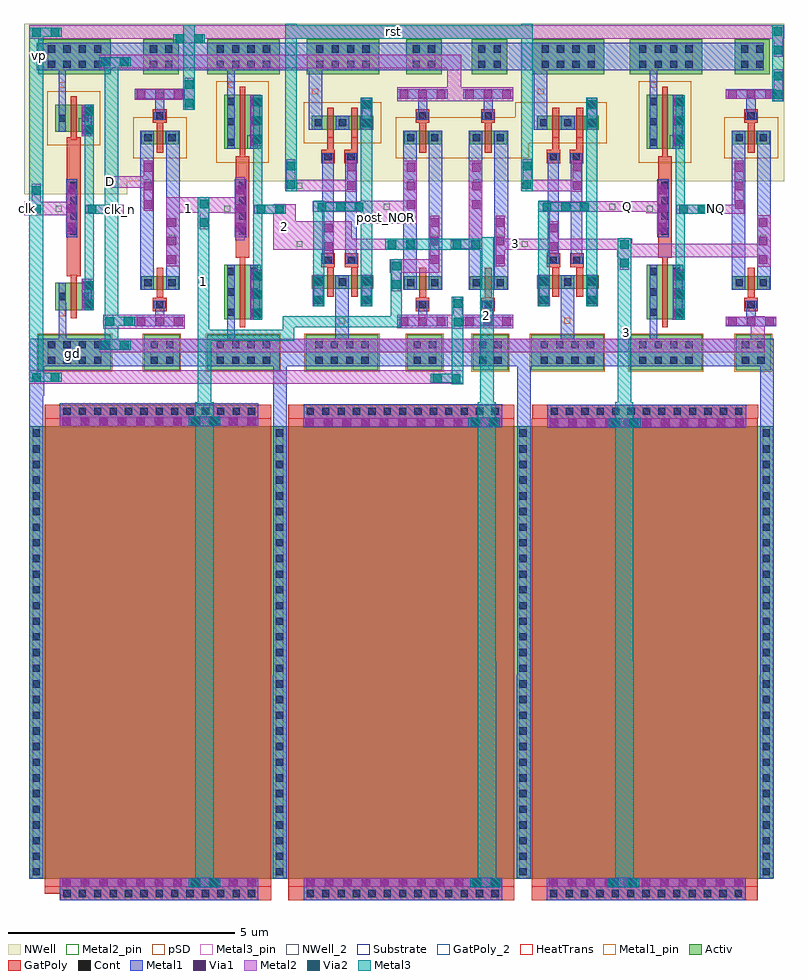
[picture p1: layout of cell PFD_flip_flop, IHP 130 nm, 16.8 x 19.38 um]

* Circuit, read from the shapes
.subckt PFD_flip_flop 1 2 3 D NQ Q clk clk_n gd post_NOR rst vp
XM1 gd 1 gd gd sg13_lv_nmos w=10u l=5u
XM2 clk_n clk gd gd sg13_lv_nmos w=0.6u l=0.13u
XM3 1 clk_n D gd sg13_lv_nmos w=0.3u l=0.15u
XM4 2 1 gd gd sg13_lv_nmos w=1.2u l=0.13u
XM5 gd 2 gd gd sg13_lv_nmos w=10u l=5u
XM6 gd 2 post_NOR gd sg13_lv_nmos w=0.3u l=0.15u
XM7 post_NOR rst gd gd sg13_lv_nmos w=0.3u l=0.15u
XM8 1 clk post_NOR gd sg13_lv_nmos w=0.3u l=0.15u
XM9 3 clk 2 gd sg13_lv_nmos w=0.3u l=0.15u
XM10 gd 3 gd gd sg13_lv_nmos w=10u l=5u
XM11 gd 3 Q gd sg13_lv_nmos w=0.3u l=0.15u
XM12 Q rst gd gd sg13_lv_nmos w=0.3u l=0.15u
XM13 NQ Q gd gd sg13_lv_nmos w=1.2u l=0.13u
XM14 3 clk_n NQ gd sg13_lv_nmos w=0.3u l=0.15u
XM15 clk_n clk vp vp sg13_lv_pmos w=0.6u l=0.13u
XM16 1 clk D vp sg13_lv_pmos w=0.3u l=0.15u
XM17 2 1 vp vp sg13_lv_pmos w=1.2u l=0.13u
XM18 n1 2 vp vp sg13_lv_pmos w=0.3u l=0.15u
XM19 post_NOR rst n1 vp sg13_lv_pmos w=0.3u l=0.15u
XM20 1 clk_n post_NOR vp sg13_lv_pmos w=0.3u l=0.15u
XM21 3 clk_n 2 vp sg13_lv_pmos w=0.3u l=0.15u
XM22 n2 3 vp vp sg13_lv_pmos w=0.3u l=0.15u
XM23 Q rst n2 vp sg13_lv_pmos w=0.3u l=0.15u
XM24 NQ Q vp vp sg13_lv_pmos w=1.2u l=0.13u
XM25 3 clk NQ vp sg13_lv_pmos w=0.3u l=0.15u
.ends

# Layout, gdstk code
from math import pi, radians
import gdstk
lib = gdstk.Library(unit=1e-6, precision=1e-09)
def R(c, l, rs):  # rectangles x0, y0, x1, y1
    for r in rs: c.add(gdstk.rectangle(r[:2], r[2:], *l))
def A(c, l, x, y, w, h, nx, ny, dx, dy):  # array of equal rectangles
    R(c, l, [(x+i*dx, y+j*dy, x+i*dx+w, y+j*dy+h) for i in range(nx) for j in range(ny)])
def P(c, l, *ps):  # polygons
    for p in ps: c.add(gdstk.Polygon(p, *l))
Activ = (1, 0)
GatPoly = (5, 0)
GatPoly_2 = (5, 2)
Cont = (6, 0)
Metal1 = (8, 0)
Metal1_pin = (8, 2)
Metal2 = (10, 0)
Metal2_pin = (10, 2)
pSD = (14, 0)
Via1 = (19, 0)
Via2 = (29, 0)
Metal3 = (30, 0)
Metal3_pin = (30, 2)
NWell = (31, 0)
NWell_2 = (31, 2)
Substrate = (40, 0)
HeatTrans = (51, 0)

via_3_3 = lib.new_cell('Via$3$3')
R(via_3_3, Metal2, [(-0.1,-0.555,0.1,0.555)])
A(via_3_3, Via2, -0.095, -0.505, 0.19, 0.19, 1, 3, 0, 0.41)
R(via_3_3, Metal3, [(-0.1,-0.555,0.1,0.555)])

via_2_1_1 = lib.new_cell('Via$2$1$1')
R(via_2_1_1, Metal1, [(-0.105,-0.555,0.105,0.555)])
R(via_2_1_1, Metal2, [(-0.1,-0.555,0.1,0.555)])
A(via_2_1_1, Via1, -0.095, -0.505, 0.19, 0.19, 1, 3, 0, 0.41)

via_3_1_1 = lib.new_cell('Via$3$1$1')
R(via_3_1_1, Metal2, [(-0.35,-0.1,0.35,0.1)])
R(via_3_1_1, Via2, [(-0.3,-0.095,-0.11,0.095), (0.11,-0.095,0.3,0.095)])
R(via_3_1_1, Metal3, [(-0.35,-0.1,0.35,0.1)])

ntap1_1_1 = lib.new_cell('ntap1$1$1')
R(ntap1_1_1, Activ, [(0,0,1.6,0.78)])
A(ntap1_1_1, Cont, 0.21, 0.14, 0.16, 0.16, 4, 2, 0.34, 0.34)
R(ntap1_1_1, Metal1, [(0.21,0.09,1.39,0.69)])
R(ntap1_1_1, Metal1_pin, [(0.21,0.09,1.39,0.69), (0.21,0.14,1.39,0.64)])
R(ntap1_1_1, NWell, [(-0.24,-0.24,1.84,1.02), (0,0,1.6,0.78)])
R(ntap1_1_1, NWell_2, [(0,0,1.6,0.78)])
ntap1_1_1.add(gdstk.Label('well', (0.8,0.01), layer=63, texttype=0))
ntap1_1_1.add(gdstk.Label('well', (0.8,0.01), layer=31, texttype=0))

ptap1_1_1 = lib.new_cell('ptap1$1$1')
R(ptap1_1_1, Activ, [(0,0,1.6,0.78)])
A(ptap1_1_1, Cont, 0.21, 0.14, 0.16, 0.16, 4, 2, 0.34, 0.34)
R(ptap1_1_1, Metal1, [(0.21,0.09,1.39,0.69), (0.21,0.14,1.39,0.64)])
R(ptap1_1_1, Metal1_pin, [(0.21,0.14,1.39,0.64)])
R(ptap1_1_1, pSD, [(-0.03,-0.03,1.63,0.81)])
R(ptap1_1_1, Substrate, [(0,0,1.6,0.78)])
ptap1_1_1.add(gdstk.Label('sub!', (0.8,0.01), layer=63, texttype=0))
ptap1_1_1.add(gdstk.Label('sub!', (0.8,0.01), layer=40, texttype=0))

nmos_1_1 = lib.new_cell('nmos$1$1')
R(nmos_1_1, Activ, [(0,0,0.3,0.3), (0,0,0.81,1.2), (0.51,0,0.81,0.3)])
R(nmos_1_1, GatPoly, [(0.34,-0.18,0.47,1.38)])
R(nmos_1_1, GatPoly_2, [(0.34,-0.18,0.47,1.38)])
A(nmos_1_1, Cont, 0.07, 0.07, 0.16, 0.16, 1, 3, 0, 0.45)
A(nmos_1_1, Cont, 0.58, 0.07, 0.16, 0.16, 1, 3, 0, 0.45)
R(nmos_1_1, Metal1, [(0.07,0,0.23,1.2), (0.58,0,0.74,1.2)])
R(nmos_1_1, Metal1_pin, [(0.07,0,0.23,1.2), (0.58,0,0.74,1.2)])
R(nmos_1_1, HeatTrans, [(0.34,-0.18,0.47,1.38)])
nmos_1_1.add(gdstk.Label('nmos', (0.405,0.6), layer=63, texttype=0))
nmos_1_1.add(gdstk.Label('nmos', (0.405,0.6), layer=51, texttype=0))

pmos_1_1 = lib.new_cell('pmos$1$1')
R(pmos_1_1, Activ, [(0,0,0.3,0.3), (0,0,0.81,1.2), (0.51,0,0.81,0.3)])
R(pmos_1_1, GatPoly, [(0.34,-0.18,0.47,1.38), (0.34,-0.18,0.47,1.38)])
A(pmos_1_1, Cont, 0.07, 0.07, 0.16, 0.16, 1, 3, 0, 0.45)
A(pmos_1_1, Cont, 0.58, 0.07, 0.16, 0.16, 1, 3, 0, 0.45)
R(pmos_1_1, Metal1, [(0.07,0,0.23,1.2), (0.07,0,0.23,1.2), (0.58,0,0.74,1.2), (0.58,0,0.74,1.2)])
R(pmos_1_1, pSD, [(-0.18,-0.3,0.99,1.5)])
R(pmos_1_1, NWell, [(-0.31,-0.31,1.12,1.51)])
R(pmos_1_1, Substrate, [(0.51,0,0.81,0.3)])
R(pmos_1_1, HeatTrans, [(0.34,-0.18,0.47,1.38)])
pmos_1_1.add(gdstk.Label('pmos', (0.405,0.6), layer=63, texttype=0))
pmos_1_1.add(gdstk.Label('pmos', (0.405,0.6), layer=51, texttype=0))

via_4_2 = lib.new_cell('Via$4$2')
R(via_4_2, GatPoly, [(-0.15,-0.66,0.15,0.66)])
A(via_4_2, Cont, -0.08, -0.59, 0.16, 0.16, 1, 4, 0, 0.34)
R(via_4_2, Metal1, [(-0.08,-0.64,0.08,0.64)])

pfd_inverter_x8 = lib.new_cell('PFD_inverter_x8')
R(pfd_inverter_x8, GatPoly, [(-0.265,-2.855,-0.135,-2.655), (-0.35,-2.25,-0.05,-1.81), (-0.35,-0.49,-0.05,0)])
R(pfd_inverter_x8, Metal1, [(-0.535,-4.45,-0.37,-3.805), (-0.535,-3.805,-0.37,-3.24), (-0.37,-1.79,-0.35,-0.51), (-0.35,-1.79,-0.28,-0.51), (-0.535,0.96,-0.375,1.26), (-0.535,1.245,-0.375,2.235)])
R(pfd_inverter_x8, Metal1_pin, [(-0.52,-3.54,-0.39,-3.41), (-0.52,1.51,-0.39,1.64)])
R(pfd_inverter_x8, Metal2, [(0.53,-1.27,0.9,-1.07), (-0.62,-1.26,-0.28,-1.06)])
R(pfd_inverter_x8, Metal2_pin, [(0.555,-1.235,0.685,-1.105), (-0.6,-1.225,-0.47,-1.095)])
R(pfd_inverter_x8, Metal3, [(0.04,-3.09,0.24,-2.63), (0.04,-2.7,0.24,-0.24), (0.04,-0.34,0.24,0.76)])
R(pfd_inverter_x8, NWell, [(-1.3,-0.55,0.98,0.655), (-1.3,0.655,0.755,2.925), (0.755,0.655,0.98,2.925)])
pfd_inverter_x8.add(gdstk.Reference(via_3_3, (0.14,-3.06)))
pfd_inverter_x8.add(gdstk.Reference(via_2_1_1, (0.08,-3.06)))
pfd_inverter_x8.add(gdstk.Reference(via_2_1_1, (-0.26,-1.16)))
pfd_inverter_x8.add(gdstk.Reference(via_3_1_1, (0.41,-1.17)))
pfd_inverter_x8.add(gdstk.Reference(via_3_3, (0.14,0.79)))
pfd_inverter_x8.add(gdstk.Reference(via_2_1_1, (0.08,0.79)))
pfd_inverter_x8.add(gdstk.Reference(ntap1_1_1, (-0.98,1.81)))
pfd_inverter_x8.add(gdstk.Reference(ptap1_1_1, (-0.98,-4.73)))
pfd_inverter_x8.add(gdstk.Reference(nmos_1_1, (-0.605,-3.6)))
pfd_inverter_x8.add(gdstk.Reference(pmos_1_1, (-0.605,0.16)))
pfd_inverter_x8.add(gdstk.Reference(via_4_2, (-0.2,-1.15)))
pfd_inverter_x8.add(gdstk.Label('OUT', (0.62,-1.17), layer=10, texttype=25))
pfd_inverter_x8.add(gdstk.Label('IN', (-0.54,-1.16), layer=10, texttype=25))
pfd_inverter_x8.add(gdstk.Label('GND', (-0.455,-3.47), layer=8, texttype=25))
pfd_inverter_x8.add(gdstk.Label('VP', (-0.455,1.57), layer=8, texttype=25))

via_12_1 = lib.new_cell('Via$12$1')
R(via_12_1, Metal2, [(-0.1,-0.35,0.1,0.35)])
R(via_12_1, Via2, [(-0.095,-0.3,0.095,-0.11), (-0.095,0.11,0.095,0.3)])
R(via_12_1, Metal3, [(-0.1,-0.35,0.1,0.35)])

pmos_2 = lib.new_cell('pmos$2')
R(pmos_2, Activ, [(0,0,0.3,0.3), (0,0,0.83,0.3), (0.53,0,0.83,0.3)])
R(pmos_2, GatPoly, [(0.34,-0.18,0.49,0.48), (0.34,-0.18,0.49,0.48)])
R(pmos_2, Cont, [(0.07,0.07,0.23,0.23), (0.6,0.07,0.76,0.23)])
R(pmos_2, Metal1, [(0.07,0,0.23,0.3), (0.07,0,0.23,0.3), (0.6,0,0.76,0.3), (0.6,0,0.76,0.3)])
R(pmos_2, pSD, [(-0.18,-0.3,1.01,0.6)])
R(pmos_2, NWell, [(-0.31,-0.31,1.14,0.61)])
R(pmos_2, Substrate, [(0.53,0,0.83,0.3)])
R(pmos_2, HeatTrans, [(0.34,-0.18,0.49,0.48)])
pmos_2.add(gdstk.Label('pmos', (0.415,0.15), layer=63, texttype=0))
pmos_2.add(gdstk.Label('pmos', (0.415,0.15), layer=51, texttype=0))

nmos_2 = lib.new_cell('nmos$2')
R(nmos_2, Activ, [(0,0,0.3,0.3), (0,0,0.83,0.3), (0.53,0,0.83,0.3)])
R(nmos_2, GatPoly, [(0.34,-0.18,0.49,0.48)])
R(nmos_2, GatPoly_2, [(0.34,-0.18,0.49,0.48)])
R(nmos_2, Cont, [(0.07,0.07,0.23,0.23), (0.6,0.07,0.76,0.23)])
R(nmos_2, Metal1, [(0.07,0,0.23,0.3), (0.6,0,0.76,0.3)])
R(nmos_2, Metal1_pin, [(0.07,0,0.23,0.3), (0.6,0,0.76,0.3)])
R(nmos_2, HeatTrans, [(0.34,-0.18,0.49,0.48)])
nmos_2.add(gdstk.Label('nmos', (0.415,0.15), layer=63, texttype=0))
nmos_2.add(gdstk.Label('nmos', (0.415,0.15), layer=51, texttype=0))

ptap1_2 = lib.new_cell('ptap1$2')
R(ptap1_2, Activ, [(0,0,0.78,0.78)])
R(ptap1_2, Cont, [(0.14,0.14,0.3,0.3), (0.48,0.14,0.64,0.3), (0.14,0.48,0.3,0.64), (0.48,0.48,0.64,0.64)])
R(ptap1_2, Metal1, [(0.14,0.09,0.64,0.69), (0.14,0.14,0.64,0.64)])
R(ptap1_2, Metal1_pin, [(0.14,0.14,0.64,0.64)])
R(ptap1_2, pSD, [(-0.03,-0.03,0.81,0.81)])
R(ptap1_2, Substrate, [(0,0,0.78,0.78)])
ptap1_2.add(gdstk.Label('sub!', (0.39,0.01), layer=63, texttype=0))
ptap1_2.add(gdstk.Label('sub!', (0.39,0.01), layer=40, texttype=0))

ntap1_2 = lib.new_cell('ntap1$2')
R(ntap1_2, Activ, [(0,0,0.78,0.78)])
R(ntap1_2, Cont, [(0.14,0.14,0.3,0.3), (0.48,0.14,0.64,0.3), (0.14,0.48,0.3,0.64), (0.48,0.48,0.64,0.64)])
R(ntap1_2, Metal1, [(0.14,0.09,0.64,0.69)])
R(ntap1_2, Metal1_pin, [(0.14,0.09,0.64,0.69), (0.14,0.14,0.64,0.64)])
R(ntap1_2, NWell, [(-0.24,-0.24,1.02,1.02), (0,0,0.78,0.78)])
R(ntap1_2, NWell_2, [(0,0,0.78,0.78)])
ntap1_2.add(gdstk.Label('well', (0.39,0.01), layer=63, texttype=0))
ntap1_2.add(gdstk.Label('well', (0.39,0.01), layer=31, texttype=0))

via_10 = lib.new_cell('Via$10')
R(via_10, Metal1, [(-0.555,-0.105,0.555,0.105)])
R(via_10, Metal2, [(-0.555,-0.1,0.555,0.1)])
A(via_10, Via1, -0.505, -0.095, 0.19, 0.19, 3, 1, 0.41, 0)

via_5_2 = lib.new_cell('Via$5$2')
R(via_5_2, GatPoly, [(-0.15,-0.15,0.15,0.15)])
R(via_5_2, Cont, [(-0.08,-0.08,0.08,0.08)])
R(via_5_2, Metal1, [(-0.13,-0.08,0.13,0.08)])

via_3 = lib.new_cell('Via$3')
R(via_3, Metal1, [(-0.105,-0.555,0.105,0.555)])
R(via_3, Metal2, [(-0.1,-0.555,0.1,0.555)])
A(via_3, Via1, -0.095, -0.505, 0.19, 0.19, 1, 3, 0, 0.41)

pfd_passgate = lib.new_cell('PFD_passgate')
R(pfd_passgate, Metal1_pin, [(-3.245,-4.395,-3.115,-4.265), (-3.245,2.135,-3.115,2.265)])
R(pfd_passgate, Metal2_pin, [(-3.295,-3.705,-3.165,-3.575), (-3.015,-1.865,-2.885,-1.735), (-3.545,-0.645,-3.415,-0.515), (-3.285,1.295,-3.155,1.425)])
R(pfd_passgate, NWell, [(-3.94,-0.55,-2.49,2.83), (-3.94,2.83,-2.49,2.93)])
pfd_passgate.add(gdstk.FlexPath([(-2.93,0.56),(-2.93,-2.95)], 0.3, ends="flush", simple_path=True, layer=8, datatype=0))  # Metal1
pfd_passgate.add(gdstk.FlexPath([(-3.5,0.56),(-3.5,-2.95)], 0.3, ends="flush", simple_path=True, layer=8, datatype=0))  # Metal1
pfd_passgate.add(gdstk.FlexPath([(-3.22,0.81),(-3.22,1.33)], 0.2, ends="flush", simple_path=True, layer=8, datatype=0))  # Metal1
pfd_passgate.add(gdstk.FlexPath([(-3.22,-3.72),(-3.22,-3.2)], 0.2, ends="flush", simple_path=True, layer=8, datatype=0))  # Metal1
pfd_passgate.add(gdstk.Reference(pmos_2, (-3.63,0.26)))
pfd_passgate.add(gdstk.Reference(nmos_2, (-3.63,-2.95)))
pfd_passgate.add(gdstk.Reference(ptap1_2, (-3.56,-4.73)))
pfd_passgate.add(gdstk.Reference(ntap1_2, (-3.58,1.81)))
pfd_passgate.add(gdstk.Reference(via_10, (-3.22,1.37)))
pfd_passgate.add(gdstk.Reference(via_5_2, (-3.22,0.89)))
pfd_passgate.add(gdstk.Reference(via_5_2, (-3.22,-3.28)))
pfd_passgate.add(gdstk.Reference(via_10, (-3.22,-3.65)))
pfd_passgate.add(gdstk.Reference(via_3, (-3.475,-0.655)))
pfd_passgate.add(gdstk.Reference(via_3, (-2.955,-1.875)))
pfd_passgate.add(gdstk.Label('A', (-3.48,-0.58), layer=10, texttype=25))
pfd_passgate.add(gdstk.Label('B', (-2.95,-1.8), layer=10, texttype=25))
pfd_passgate.add(gdstk.Label('in_p', (-3.22,1.36), layer=10, texttype=25))
pfd_passgate.add(gdstk.Label('in_n', (-3.23,-3.64), layer=10, texttype=25))
pfd_passgate.add(gdstk.Label('gnd', (-3.18,-4.33), layer=8, texttype=25))
pfd_passgate.add(gdstk.Label('vp', (-3.18,2.2), layer=8, texttype=25))

pmos_3_1 = lib.new_cell('pmos$3$1')
R(pmos_3_1, Activ, [(0,0,0.3,0.3), (0,0,0.83,0.3), (0.53,0,0.83,0.3)])
R(pmos_3_1, GatPoly, [(0.34,-0.18,0.49,0.48), (0.34,-0.18,0.49,0.48)])
R(pmos_3_1, Cont, [(0.07,0.07,0.23,0.23), (0.6,0.07,0.76,0.23)])
R(pmos_3_1, Metal1, [(0.07,0,0.23,0.3), (0.07,0,0.23,0.3), (0.6,0,0.76,0.3), (0.6,0,0.76,0.3)])
R(pmos_3_1, pSD, [(-0.18,-0.3,1.01,0.6)])
R(pmos_3_1, NWell, [(-0.31,-0.31,1.14,0.61)])
R(pmos_3_1, Substrate, [(0.53,0,0.83,0.3)])
R(pmos_3_1, HeatTrans, [(0.34,-0.18,0.49,0.48)])
pmos_3_1.add(gdstk.Label('pmos', (0.415,0.15), layer=63, texttype=0))
pmos_3_1.add(gdstk.Label('pmos', (0.415,0.15), layer=51, texttype=0))

ntap1_3_1 = lib.new_cell('ntap1$3$1')
R(ntap1_3_1, Activ, [(0,0,1.6,0.78)])
A(ntap1_3_1, Cont, 0.21, 0.14, 0.16, 0.16, 4, 2, 0.34, 0.34)
R(ntap1_3_1, Metal1, [(0.21,0.09,1.39,0.69)])
R(ntap1_3_1, Metal1_pin, [(0.21,0.09,1.39,0.69), (0.21,0.14,1.39,0.64)])
R(ntap1_3_1, NWell, [(-0.24,-0.24,1.84,1.02), (0,0,1.6,0.78)])
R(ntap1_3_1, NWell_2, [(0,0,1.6,0.78)])
ntap1_3_1.add(gdstk.Label('well', (0.8,0.01), layer=63, texttype=0))
ntap1_3_1.add(gdstk.Label('well', (0.8,0.01), layer=31, texttype=0))

via_5_3_1 = lib.new_cell('Via$5$3$1')
R(via_5_3_1, GatPoly, [(-0.15,-0.15,0.15,0.15)])
R(via_5_3_1, Cont, [(-0.08,-0.08,0.08,0.08)])
R(via_5_3_1, Metal1, [(-0.13,-0.08,0.13,0.08)])

via_6_1_1 = lib.new_cell('Via$6$1$1')
R(via_6_1_1, Metal1, [(-0.105,-0.35,0.105,0.35)])
R(via_6_1_1, Metal2, [(-0.1,-0.35,0.1,0.35)])
R(via_6_1_1, Via1, [(-0.095,-0.3,0.095,-0.11), (-0.095,0.11,0.095,0.3)])

ptap1_3_1 = lib.new_cell('ptap1$3$1')
R(ptap1_3_1, Activ, [(0,0,1.6,0.78)])
A(ptap1_3_1, Cont, 0.21, 0.14, 0.16, 0.16, 4, 2, 0.34, 0.34)
R(ptap1_3_1, Metal1, [(0.21,0.09,1.39,0.69), (0.21,0.14,1.39,0.64)])
R(ptap1_3_1, Metal1_pin, [(0.21,0.14,1.39,0.64)])
R(ptap1_3_1, pSD, [(-0.03,-0.03,1.63,0.81)])
R(ptap1_3_1, Substrate, [(0,0,1.6,0.78)])
ptap1_3_1.add(gdstk.Label('sub!', (0.8,0.01), layer=63, texttype=0))
ptap1_3_1.add(gdstk.Label('sub!', (0.8,0.01), layer=40, texttype=0))

nmos_3_1 = lib.new_cell('nmos$3$1')
R(nmos_3_1, Activ, [(0,0,0.3,0.3), (0,0,0.83,0.3), (0.53,0,0.83,0.3)])
R(nmos_3_1, GatPoly, [(0.34,-0.18,0.49,0.48)])
R(nmos_3_1, GatPoly_2, [(0.34,-0.18,0.49,0.48)])
R(nmos_3_1, Cont, [(0.07,0.07,0.23,0.23), (0.6,0.07,0.76,0.23)])
R(nmos_3_1, Metal1, [(0.07,0,0.23,0.3), (0.6,0,0.76,0.3)])
R(nmos_3_1, Metal1_pin, [(0.07,0,0.23,0.3), (0.6,0,0.76,0.3)])
R(nmos_3_1, HeatTrans, [(0.34,-0.18,0.49,0.48)])
nmos_3_1.add(gdstk.Label('nmos', (0.415,0.15), layer=63, texttype=0))
nmos_3_1.add(gdstk.Label('nmos', (0.415,0.15), layer=51, texttype=0))

via_8_1 = lib.new_cell('Via$8$1')
R(via_8_1, Metal2, [(-0.1,-0.35,0.1,0.35)])
R(via_8_1, Via2, [(-0.095,-0.3,0.095,-0.11), (-0.095,0.11,0.095,0.3)])
R(via_8_1, Metal3, [(-0.1,-0.35,0.1,0.35)])

via_7_1_1 = lib.new_cell('Via$7$1$1')
R(via_7_1_1, Metal2, [(-0.555,-0.1,0.555,0.1)])
A(via_7_1_1, Via2, -0.505, -0.095, 0.19, 0.19, 3, 1, 0.41, 0)
R(via_7_1_1, Metal3, [(-0.555,-0.1,0.555,0.1)])

pfd_nor = lib.new_cell('PFD_NOR')
R(pfd_nor, GatPoly, [(0.53,0.13,0.68,0.41), (0,0.14,0.15,0.41)])
R(pfd_nor, Metal1, [(-0.34,-4.64,1.02,-4.04), (0.19,0.59,0.49,0.89)])
R(pfd_nor, Metal1_pin, [(0.265,-3.705,0.395,-3.575), (-0.325,1.365,-0.195,1.495)])
R(pfd_nor, Metal2, [(-0.315,-1.23,1.39,-1)])
R(pfd_nor, Metal2_pin, [(-0.675,-2.005,-0.545,-1.875), (1.255,-1.185,1.385,-1.055), (-0.675,-0.715,-0.545,-0.585)])
R(pfd_nor, NWell, [(-0.69,-0.55,1.39,2.93)])
pfd_nor.add(gdstk.FlexPath([(-0.195,-2.62),(-0.195,-3.32)], 0.25, ends="flush", simple_path=True, layer=10, datatype=0))  # Metal2
pfd_nor.add(gdstk.FlexPath([(0.875,-2.62),(0.875,-3.32)], 0.25, ends="flush", simple_path=True, layer=10, datatype=0))  # Metal2
pfd_nor.add(gdstk.FlexPath([(0.87,1.29),(0.87,0.59)], 0.25, ends="flush", simple_path=True, layer=10, datatype=0))  # Metal2
pfd_nor.add(gdstk.FlexPath([(0.64,-0.65),(-0.69,-0.65)], 0.25, ends="flush", simple_path=True, layer=10, datatype=0))  # Metal2
pfd_nor.add(gdstk.FlexPath([(0.125,-1.945),(-0.69,-1.945)], 0.25, ends="flush", simple_path=True, layer=10, datatype=0))  # Metal2
pfd_nor.add(gdstk.FlexPath([(-0.185,-3.32),(-0.185,-0.99)], 0.25, ends="flush", simple_path=True, layer=30, datatype=0))  # Metal3
pfd_nor.add(gdstk.FlexPath([(0.87,-3.32),(0.87,1.29)], 0.25, ends="flush", simple_path=True, layer=30, datatype=0))  # Metal3
pfd_nor.add(gdstk.FlexPath([(-0.26,0.59),(-0.26,2.5)], 0.3, ends="flush", simple_path=True, layer=8, datatype=0))  # Metal1
pfd_nor.add(gdstk.FlexPath([(0.02,0.07),(0.02,-2.38)], 0.25, ends="flush", simple_path=True, layer=8, datatype=0))  # Metal1
pfd_nor.add(gdstk.FlexPath([(0.53,0.07),(0.53,-2.38)], 0.25, ends="flush", simple_path=True, layer=8, datatype=0))  # Metal1
pfd_nor.add(gdstk.FlexPath([(0.33,-2.63),(0.33,-4.04)], 0.3, ends="flush", simple_path=True, layer=8, datatype=0))  # Metal1
pfd_nor.add(gdstk.Reference(pmos_3_1, (-0.34,0.59)))
pfd_nor.add(gdstk.Reference(pmos_3_1, (0.19,0.59)))
pfd_nor.add(gdstk.Reference(ntap1_3_1, (-0.45,1.81)))
pfd_nor.add(gdstk.Reference(via_5_3_1, (0.02,-0.01)))
pfd_nor.add(gdstk.Reference(via_5_3_1, (0.53,-0.01)))
pfd_nor.add(gdstk.Reference(via_5_3_1, (0.02,-2.3)))
pfd_nor.add(gdstk.Reference(via_5_3_1, (0.54,-2.3)))
pfd_nor.add(gdstk.Reference(via_6_1_1, (0.025,-1.79)))
pfd_nor.add(gdstk.Reference(via_6_1_1, (0.545,-0.44)))
pfd_nor.add(gdstk.Reference(ptap1_3_1, (-0.47,-4.73)))
pfd_nor.add(gdstk.Reference(nmos_3_1, (-0.34,-2.93)))
pfd_nor.add(gdstk.Reference(nmos_3_1, (0.19,-2.93)))
pfd_nor.add(gdstk.Reference(via_8_1, (0.87,0.94)))
pfd_nor.add(gdstk.Reference(via_6_1_1, (0.875,0.94)))
pfd_nor.add(gdstk.Reference(via_8_1, (0.87,-2.97)))
pfd_nor.add(gdstk.Reference(via_6_1_1, (0.875,-2.97)))
pfd_nor.add(gdstk.Reference(via_8_1, (-0.19,-2.97)))
pfd_nor.add(gdstk.Reference(via_6_1_1, (-0.185,-2.97)))
pfd_nor.add(gdstk.Reference(via_7_1_1, (0.295,-1.12)))
pfd_nor.add(gdstk.Label('Out', (1.32,-1.12), layer=10, texttype=25))
pfd_nor.add(gdstk.Label('A', (-0.61,-0.65), layer=10, texttype=25))
pfd_nor.add(gdstk.Label('B', (-0.61,-1.94), layer=10, texttype=25))
pfd_nor.add(gdstk.Label('gd', (0.33,-3.64), layer=8, texttype=25))
pfd_nor.add(gdstk.Label('vp', (-0.26,1.43), layer=8, texttype=25))

via_23 = lib.new_cell('Via$23')
R(via_23, Metal2, [(-0.35,-0.1,0.35,0.1)])
R(via_23, Via2, [(-0.3,-0.095,-0.11,0.095), (0.11,-0.095,0.3,0.095)])
R(via_23, Metal3, [(-0.35,-0.1,0.35,0.1)])

via_2_1 = lib.new_cell('Via$2$1')
R(via_2_1, Metal2, [(-0.1,-0.35,0.1,0.35)])
R(via_2_1, Via2, [(-0.095,-0.3,0.095,-0.11), (-0.095,0.11,0.095,0.3)])
R(via_2_1, Metal3, [(-0.1,-0.35,0.1,0.35)])

via_8 = lib.new_cell('Via$8')
R(via_8, Metal1, [(-0.105,-0.35,0.105,0.35)])
R(via_8, Metal2, [(-0.1,-0.35,0.1,0.35)])
R(via_8, Via1, [(-0.095,-0.3,0.095,-0.11), (-0.095,0.11,0.095,0.3)])

via_6 = lib.new_cell('Via$6')
R(via_6, Metal1, [(-0.105,-0.555,0.105,0.555)])
R(via_6, Metal2, [(-0.1,-0.555,0.1,0.555)])
A(via_6, Via1, -0.095, -0.505, 0.19, 0.19, 1, 3, 0, 0.41)

via_7 = lib.new_cell('Via$7')
R(via_7, Metal2, [(-0.35,-0.1,0.35,0.1)])
R(via_7, Via2, [(-0.3,-0.095,-0.11,0.095), (0.11,-0.095,0.3,0.095)])
R(via_7, Metal3, [(-0.35,-0.1,0.35,0.1)])

ntap1_3 = lib.new_cell('ntap1$3')
R(ntap1_3, Activ, [(0,0,1.6,0.78)])
A(ntap1_3, Cont, 0.21, 0.14, 0.16, 0.16, 4, 2, 0.34, 0.34)
R(ntap1_3, Metal1, [(0.21,0.09,1.39,0.69)])
R(ntap1_3, Metal1_pin, [(0.21,0.09,1.39,0.69), (0.21,0.14,1.39,0.64)])
R(ntap1_3, NWell, [(-0.24,-0.24,1.84,1.02), (0,0,1.6,0.78)])
R(ntap1_3, NWell_2, [(0,0,1.6,0.78)])
ntap1_3.add(gdstk.Label('well', (0.8,0.01), layer=63, texttype=0))
ntap1_3.add(gdstk.Label('well', (0.8,0.01), layer=31, texttype=0))

ptap1_5 = lib.new_cell('ptap1$5')
R(ptap1_5, Activ, [(0,0,1.6,0.78)])
A(ptap1_5, Cont, 0.21, 0.14, 0.16, 0.16, 4, 2, 0.34, 0.34)
R(ptap1_5, Metal1, [(0.21,0.09,1.39,0.69), (0.21,0.14,1.39,0.64)])
R(ptap1_5, Metal1_pin, [(0.21,0.14,1.39,0.64)])
R(ptap1_5, pSD, [(-0.03,-0.03,1.63,0.81)])
R(ptap1_5, Substrate, [(0,0,1.6,0.78)])
ptap1_5.add(gdstk.Label('sub!', (0.8,0.01), layer=63, texttype=0))
ptap1_5.add(gdstk.Label('sub!', (0.8,0.01), layer=40, texttype=0))

nmos_4 = lib.new_cell('nmos$4')
R(nmos_4, Activ, [(0,0,0.3,0.3), (0,0,0.81,0.6), (0.51,0,0.81,0.3)])
R(nmos_4, GatPoly, [(0.34,-0.18,0.47,0.78)])
R(nmos_4, GatPoly_2, [(0.34,-0.18,0.47,0.78)])
R(nmos_4, Cont, [(0.07,0.22,0.23,0.38), (0.58,0.22,0.74,0.38)])
R(nmos_4, Metal1, [(0.07,0,0.23,0.6), (0.58,0,0.74,0.6)])
R(nmos_4, Metal1_pin, [(0.07,0,0.23,0.6), (0.58,0,0.74,0.6)])
R(nmos_4, HeatTrans, [(0.34,-0.18,0.47,0.78)])
nmos_4.add(gdstk.Label('nmos', (0.405,0.3), layer=63, texttype=0))
nmos_4.add(gdstk.Label('nmos', (0.405,0.3), layer=51, texttype=0))

pmos_4 = lib.new_cell('pmos$4')
R(pmos_4, Activ, [(0,0,0.3,0.3), (0,0,0.81,0.6), (0.51,0,0.81,0.3)])
R(pmos_4, GatPoly, [(0.34,-0.18,0.47,0.78), (0.34,-0.18,0.47,0.78)])
R(pmos_4, Cont, [(0.07,0.22,0.23,0.38), (0.58,0.22,0.74,0.38)])
R(pmos_4, Metal1, [(0.07,0,0.23,0.6), (0.07,0,0.23,0.6), (0.58,0,0.74,0.6), (0.58,0,0.74,0.6)])
R(pmos_4, pSD, [(-0.18,-0.3,0.99,0.9)])
R(pmos_4, NWell, [(-0.31,-0.31,1.12,0.91)])
R(pmos_4, Substrate, [(0.51,0,0.81,0.3)])
R(pmos_4, HeatTrans, [(0.34,-0.18,0.47,0.78)])
pmos_4.add(gdstk.Label('pmos', (0.405,0.3), layer=63, texttype=0))
pmos_4.add(gdstk.Label('pmos', (0.405,0.3), layer=51, texttype=0))

via_5 = lib.new_cell('Via$5')
R(via_5, GatPoly, [(-0.15,-0.66,0.15,0.66)])
A(via_5, Cont, -0.08, -0.59, 0.16, 0.16, 1, 4, 0, 0.34)
R(via_5, Metal1, [(-0.08,-0.64,0.08,0.64)])

pfd_inverter_x4 = lib.new_cell('PFD_inverter_x4')
R(pfd_inverter_x4, GatPoly, [(-0.265,-2.855,-0.135,-2.655), (-0.35,-2.65,-0.05,-1.81), (-0.35,-0.49,-0.05,0.42)])
R(pfd_inverter_x4, Metal1, [(-0.535,-4.45,-0.37,-3.805), (-0.535,-3.805,-0.37,-3.24), (-0.37,-1.79,-0.35,-0.51), (-0.35,-1.79,-0.28,-0.51), (-0.535,0.96,-0.375,1.26), (-0.535,1.245,-0.375,2.235)])
R(pfd_inverter_x4, Metal1_pin, [(-0.52,-3.54,-0.39,-3.41), (-0.52,1.51,-0.39,1.64)])
R(pfd_inverter_x4, Metal2, [(-0.02,-3.41,0.24,-2.71), (0.53,-1.27,0.9,-1.07), (-0.62,-1.26,-0.28,-1.06), (-0.02,0.44,0.24,1.14)])
R(pfd_inverter_x4, Metal2_pin, [(0.555,-1.235,0.685,-1.105), (-0.6,-1.225,-0.47,-1.095)])
R(pfd_inverter_x4, Metal3, [(0.04,-3.09,0.24,-2.63), (0.04,-2.7,0.24,-0.24), (0.04,-0.34,0.24,0.76)])
R(pfd_inverter_x4, NWell, [(-1.3,-0.84,0.98,0.14), (-1.3,0.14,0.98,0.655), (-1.3,0.655,0.755,2.925), (0.755,0.655,0.98,2.925)])
pfd_inverter_x4.add(gdstk.Reference(via_2_1, (0.14,-3.06)))
pfd_inverter_x4.add(gdstk.Reference(via_8, (0.08,-3.06)))
pfd_inverter_x4.add(gdstk.Reference(via_6, (-0.26,-1.16)))
pfd_inverter_x4.add(gdstk.Reference(via_7, (0.41,-1.17)))
pfd_inverter_x4.add(gdstk.Reference(via_2_1, (0.14,0.79)))
pfd_inverter_x4.add(gdstk.Reference(via_8, (0.08,0.79)))
pfd_inverter_x4.add(gdstk.Reference(ntap1_3, (-0.98,1.81)))
pfd_inverter_x4.add(gdstk.Reference(ptap1_5, (-0.98,-4.73)))
pfd_inverter_x4.add(gdstk.Reference(nmos_4, (-0.605,-3.4)))
pfd_inverter_x4.add(gdstk.Reference(pmos_4, (-0.605,0.54)))
pfd_inverter_x4.add(gdstk.Reference(via_5, (-0.2,-1.15)))
pfd_inverter_x4.add(gdstk.Label('OUT', (0.62,-1.17), layer=10, texttype=25))
pfd_inverter_x4.add(gdstk.Label('IN', (-0.54,-1.16), layer=10, texttype=25))
pfd_inverter_x4.add(gdstk.Label('GND', (-0.455,-3.47), layer=8, texttype=25))
pfd_inverter_x4.add(gdstk.Label('VP', (-0.455,1.57), layer=8, texttype=25))

via_15_1 = lib.new_cell('Via$15$1')
R(via_15_1, GatPoly, [(-2.19,-0.15,2.19,0.15)])
A(via_15_1, Cont, -2.12, -0.08, 0.16, 0.16, 13, 1, 0.34, 0)
R(via_15_1, Metal1, [(-2.17,-0.08,2.17,0.08)])

via_14 = lib.new_cell('Via$14')
R(via_14, Metal1, [(-2.195,-0.105,2.195,0.105)])
R(via_14, Metal2, [(-2.195,-0.1,2.195,0.1)])
A(via_14, Via1, -2.145, -0.095, 0.19, 0.19, 11, 1, 0.41, 0)

nmos_6 = lib.new_cell('nmos$6')
R(nmos_6, Activ, [(0,0,0.3,0.3), (0,0,5.68,10), (5.38,0,5.68,0.3)])
R(nmos_6, GatPoly, [(0.34,-0.18,5.34,10.18)])
R(nmos_6, GatPoly_2, [(0.34,-0.18,5.34,10.18)])
A(nmos_6, Cont, 0.07, 0.07, 0.16, 0.16, 1, 4, 0, 0.345)
A(nmos_6, Cont, 5.45, 0.07, 0.16, 0.16, 1, 4, 0, 0.345)
A(nmos_6, Cont, 0.07, 1.455, 0.16, 0.16, 1, 3, 0, 0.345)
A(nmos_6, Cont, 5.45, 1.455, 0.16, 0.16, 1, 3, 0, 0.345)
A(nmos_6, Cont, 0.07, 2.495, 0.16, 0.16, 1, 4, 0, 0.345)
A(nmos_6, Cont, 5.45, 2.495, 0.16, 0.16, 1, 4, 0, 0.345)
A(nmos_6, Cont, 0.07, 3.88, 0.16, 0.16, 1, 3, 0, 0.345)
A(nmos_6, Cont, 5.45, 3.88, 0.16, 0.16, 1, 3, 0, 0.345)
A(nmos_6, Cont, 0.07, 4.92, 0.16, 0.16, 1, 4, 0, 0.345)
A(nmos_6, Cont, 5.45, 4.92, 0.16, 0.16, 1, 4, 0, 0.345)
A(nmos_6, Cont, 0.07, 6.305, 0.16, 0.16, 1, 3, 0, 0.345)
A(nmos_6, Cont, 5.45, 6.305, 0.16, 0.16, 1, 3, 0, 0.345)
A(nmos_6, Cont, 0.07, 7.345, 0.16, 0.16, 1, 4, 0, 0.345)
A(nmos_6, Cont, 5.45, 7.345, 0.16, 0.16, 1, 4, 0, 0.345)
A(nmos_6, Cont, 0.07, 8.73, 0.16, 0.16, 1, 3, 0, 0.345)
A(nmos_6, Cont, 5.45, 8.73, 0.16, 0.16, 1, 3, 0, 0.345)
R(nmos_6, Cont, [(0.07,9.77,0.23,9.93), (5.45,9.77,5.61,9.93)])
R(nmos_6, Metal1, [(0.07,0,0.23,10), (5.45,0,5.61,10)])
R(nmos_6, Metal1_pin, [(0.07,0,0.23,10), (5.45,0,5.61,10)])
R(nmos_6, HeatTrans, [(0.34,-0.18,5.34,10.18)])
nmos_6.add(gdstk.Label('nmos', (2.84,5), layer=63, texttype=0))
nmos_6.add(gdstk.Label('nmos', (2.84,5), layer=51, texttype=0))

nmos_8 = lib.new_cell('nmos$8')
R(nmos_8, Activ, [(0,0,0.3,0.3), (0,0,5.68,10), (5.38,0,5.68,0.3)])
R(nmos_8, GatPoly, [(0.34,-0.18,5.34,10.18)])
R(nmos_8, GatPoly_2, [(0.34,-0.18,5.34,10.18)])
A(nmos_8, Cont, 0.07, 0.07, 0.16, 0.16, 1, 4, 0, 0.345)
A(nmos_8, Cont, 5.45, 0.07, 0.16, 0.16, 1, 4, 0, 0.345)
A(nmos_8, Cont, 0.07, 1.455, 0.16, 0.16, 1, 3, 0, 0.345)
A(nmos_8, Cont, 5.45, 1.455, 0.16, 0.16, 1, 3, 0, 0.345)
A(nmos_8, Cont, 0.07, 2.495, 0.16, 0.16, 1, 4, 0, 0.345)
A(nmos_8, Cont, 5.45, 2.495, 0.16, 0.16, 1, 4, 0, 0.345)
A(nmos_8, Cont, 0.07, 3.88, 0.16, 0.16, 1, 3, 0, 0.345)
A(nmos_8, Cont, 5.45, 3.88, 0.16, 0.16, 1, 3, 0, 0.345)
A(nmos_8, Cont, 0.07, 4.92, 0.16, 0.16, 1, 4, 0, 0.345)
A(nmos_8, Cont, 5.45, 4.92, 0.16, 0.16, 1, 4, 0, 0.345)
A(nmos_8, Cont, 0.07, 6.305, 0.16, 0.16, 1, 3, 0, 0.345)
A(nmos_8, Cont, 5.45, 6.305, 0.16, 0.16, 1, 3, 0, 0.345)
A(nmos_8, Cont, 0.07, 7.345, 0.16, 0.16, 1, 4, 0, 0.345)
A(nmos_8, Cont, 5.45, 7.345, 0.16, 0.16, 1, 4, 0, 0.345)
A(nmos_8, Cont, 0.07, 8.73, 0.16, 0.16, 1, 3, 0, 0.345)
A(nmos_8, Cont, 5.45, 8.73, 0.16, 0.16, 1, 3, 0, 0.345)
R(nmos_8, Cont, [(0.07,9.77,0.23,9.93), (5.45,9.77,5.61,9.93)])
R(nmos_8, Metal1, [(0.07,0,0.23,10), (5.45,0,5.61,10)])
R(nmos_8, Metal1_pin, [(0.07,0,0.23,10), (5.45,0,5.61,10)])
R(nmos_8, HeatTrans, [(0.34,-0.18,5.34,10.18)])
nmos_8.add(gdstk.Label('nmos', (2.84,5), layer=63, texttype=0))
nmos_8.add(gdstk.Label('nmos', (2.84,5), layer=51, texttype=0))

pfd_flip_flop = lib.new_cell('PFD_flip_flop')
A(pfd_flip_flop, GatPoly, -2.59, -16.45, 0.28, 0.3, 3, 1, 5.38, 0)
R(pfd_flip_flop, GatPoly, [(-1.93,-16.45,-1.59,-16.15), (3.45,-16.45,3.79,-16.15), (-7.31,-16.3,-6.97,-16), (-7.31,-5.79,-6.97,-5.49), (-2.59,-5.79,-2.31,-5.49), (-1.93,-5.79,-1.59,-5.49), (2.79,-5.79,3.07,-5.49), (3.46,-5.79,3.8,-5.49), (8.18,-5.79,8.46,-5.49)])
R(pfd_flip_flop, Metal1, [(-6.98,-16.45,-2.59,-15.945), (-1.59,-16.45,2.8,-15.945), (3.79,-16.45,8.18,-15.945), (-7.65,-15.96,-7.35,-11.47), (-2.27,-15.96,-1.96,-11.47), (3.12,-15.96,3.43,-11.47), (8.49,-15.96,8.8,-11.47), (3.8,-6,8.19,-5.495), (-1.59,-5.99,2.8,-5.485), (-6.98,-5.97,-2.59,-5.465), (-7.32,-4.64,-7.24,-4.03), (-7.24,-4.64,8.6,-4.03), (8.6,-4.64,8.8,-4.04), (-7.005,-4.59,-6.84,-3.4), (-7.49,1.9,-7.24,2.5), (-7.24,1.9,8.58,2.51)])
R(pfd_flip_flop, Metal1_pin, [(-6.755,-4.425,-6.625,-4.295), (-7.49,2.16,-7.36,2.29)])
R(pfd_flip_flop, Metal2, [(8.44,-2.44,8.74,-1.3), (5.34,-2.23,5.68,-1.82), (0.61,-2.07,0.8,-1.82), (2.655,-2.07,3.22,-1.82), (2.06,-2.05,2.36,-0.1), (-3.105,-1.86,-2.895,-1.715), (-1.76,-1.82,-0.945,-1.44), (-0.945,-1.82,-0.53,-1.44), (-3.105,-1.715,-2.895,-0.605), (-3.11,-1.56,-3.1,-1.26), (-0.32,-1.49,0.345,-0.99), (-6.835,-1.31,-6.83,-1.26), (-4.63,-1.255,-2.905,-0.91), (5.3,-1.23,6.23,-1), (6.23,-1.08,6.24,-1), (-6.835,-1.06,-6.83,-1.01), (-3.105,-1.06,-3.1,-0.91), (6.23,-1.05,6.24,-1), (0.61,-0.99,0.91,-0.1), (-1.98,-0.775,-1.76,-0.525), (3.24,-0.775,3.46,-0.525), (-3.105,-0.605,-2.895,-0.46)])
P(pfd_flip_flop, Metal2, [(-3.105,-0.91),(-3.105,-0.91),(-3.105,-0.91),(-3.105,-0.91)])
R(pfd_flip_flop, Metal2_pin, [(-7.765,-1.225,-7.635,-1.095), (7.455,-1.225,7.585,-1.095), (5.515,-1.185,5.645,-1.055), (-5.915,-0.635,-5.785,-0.505)])
R(pfd_flip_flop, pSD, [(1.64,-0.04,1.9,0.86), (3.09,-0.04,3.39,1.19)])
R(pfd_flip_flop, Metal3, [(-3.98,-16.05,-3.575,-11.16), (2.26,-16.05,2.665,-11.16), (5.3,-16.05,5.705,-11.16), (5.35,-5.485,5.65,-5.09), (2.31,-5.45,2.61,-5.09), (-3.93,-5.44,-3.63,-5.09), (-5.99,-4.28,-5.69,-3.76), (1.69,-3.36,1.94,-3.11), (2.31,-2.095,2.36,-2.07), (0.22,-2.07,2.36,-1.82), (-5.99,-1.08,-5.69,-1.07), (-4.245,1.03,-3.995,1.22), (-5.99,1.9,-5.69,2.19)])
R(pfd_flip_flop, Metal3_pin, [(0.335,2.685,0.465,2.815)])
pfd_flip_flop.add(gdstk.FlexPath([(7.5,-1.17),(8.15,-1.17)], 0.2, ends="flush", simple_path=True, layer=10, datatype=0))  # Metal2
pfd_flip_flop.add(gdstk.FlexPath([(0.34,-1.24),(0.91,-1.24)], 0.5, ends="flush", simple_path=True, layer=10, datatype=0))  # Metal2
pfd_flip_flop.add(gdstk.FlexPath([(-7.65,-4.88),(-5.07,-4.88)], 0.3, ends="flush", simple_path=True, layer=10, datatype=0))  # Metal2
pfd_flip_flop.add(gdstk.FlexPath([(-7.65,2.75),(-5.07,2.75)], 0.3, ends="flush", simple_path=True, layer=10, datatype=0))  # Metal2
pfd_flip_flop.add(gdstk.FlexPath([(-5.07,-4.88),(1.94,-4.88)], 0.3, ends="flush", simple_path=True, layer=10, datatype=0))  # Metal2
pfd_flip_flop.add(gdstk.FlexPath([(-6.11,2.09),(1.89,2.09)], 0.3, ends="flush", simple_path=True, layer=10, datatype=0))  # Metal2
pfd_flip_flop.add(gdstk.FlexPath([(1.74,1.22),(1.74,1.94)], 0.3, ends="flush", simple_path=True, layer=10, datatype=0))  # Metal2
pfd_flip_flop.add(gdstk.FlexPath([(-6.11,-4.18),(8.6,-4.18)], 0.3, ends="flush", simple_path=True, layer=10, datatype=0))  # Metal2
pfd_flip_flop.add(gdstk.FlexPath([(8.45,-4.33),(8.45,-3.54)], 0.3, ends="flush", simple_path=True, layer=10, datatype=0))  # Metal2
pfd_flip_flop.add(gdstk.FlexPath([(-0.945,-1.945),(0.61,-1.945)], 0.25, ends="flush", simple_path=True, layer=10, datatype=0))  # Metal2
pfd_flip_flop.add(gdstk.FlexPath([(-5.07,2.75),(9.03,2.75)], 0.3, ends="flush", simple_path=True, layer=10, datatype=0))  # Metal2
pfd_flip_flop.add(gdstk.FlexPath([(8.66,-2.08),(5.48,-2.08)], 0.3, ends="flush", simple_path=True, layer=10, datatype=0))  # Metal2
pfd_flip_flop.add(gdstk.FlexPath([(3.43,-1.945),(5.48,-1.945)], 0.25, ends="flush", simple_path=True, layer=10, datatype=0))  # Metal2
pfd_flip_flop.add(gdstk.FlexPath([(-5.325,1.37),(-3.995,1.37)], 0.25, ends="flush", simple_path=True, layer=10, datatype=0))  # Metal2
pfd_flip_flop.add(gdstk.FlexPath([(-5.49,-3.66),(-4.215,-3.66)], 0.3, ends="flush", simple_path=True, layer=10, datatype=0))  # Metal2
pfd_flip_flop.add(gdstk.FlexPath([(0.485,-3.65),(3.045,-3.65)], 0.3, ends="flush", simple_path=True, layer=10, datatype=0))  # Metal2
pfd_flip_flop.add(gdstk.FlexPath([(1.41,-2.43),(0.32,-2.43),(0.32,-2.43)], 0.3, ends="flush", simple_path=True, layer=10, datatype=0))  # Metal2
pfd_flip_flop.add(gdstk.FlexPath([(-5.48,-3.66),(-6.02,-3.66)], 0.3, ends="flush", simple_path=True, layer=10, datatype=0))  # Metal2
pfd_flip_flop.add(gdstk.FlexPath([(0.485,1.37),(3.045,1.37)], 0.3, ends="flush", simple_path=True, layer=10, datatype=0))  # Metal2
pfd_flip_flop.add(gdstk.FlexPath([(-6.835,-1.16),(-7.77,-1.16)], 0.3, ends="flush", simple_path=True, layer=10, datatype=0))  # Metal2
pfd_flip_flop.add(gdstk.FlexPath([(-4.48,-0.91),(-4.48,-2.43)], 0.3, ends="flush", simple_path=True, layer=10, datatype=0))  # Metal2
pfd_flip_flop.add(gdstk.FlexPath([(-4.93,-0.57),(-5.99,-0.57)], 0.25, ends="flush", simple_path=True, layer=10, datatype=0))  # Metal2
pfd_flip_flop.add(gdstk.FlexPath([(-2.01,-1.06),(-2.01,-2.07)], 0.5, ends="flush", simple_path=True, layer=10, datatype=0))  # Metal2
pfd_flip_flop.add(gdstk.FlexPath([(0.32,-1.12),(-0.325,-1.12)], 0.25, ends="flush", simple_path=True, layer=10, datatype=0))  # Metal2
pfd_flip_flop.add(gdstk.FlexPath([(-3.78,-5.44),(-3.78,-11.16)], 0.4, ends="flush", simple_path=True, layer=30, datatype=0))  # Metal3
pfd_flip_flop.add(gdstk.FlexPath([(2.46,-5.44),(2.46,-11.16)], 0.4, ends="flush", simple_path=True, layer=30, datatype=0))  # Metal3
pfd_flip_flop.add(gdstk.FlexPath([(5.5,-5.44),(5.5,-11.16)], 0.4, ends="flush", simple_path=True, layer=30, datatype=0))  # Metal3
pfd_flip_flop.add(gdstk.FlexPath([(2.36,-1.945),(2.46,-1.945),(2.46,-5.09)], 0.3, ends="flush", simple_path=True, layer=30, datatype=0))  # Metal3
pfd_flip_flop.add(gdstk.FlexPath([(-3.78,-4.085),(-3.78,-5.09)], 0.3, ends="flush", simple_path=True, layer=30, datatype=0))  # Metal3
pfd_flip_flop.add(gdstk.FlexPath([(5.5,-1.81),(5.5,-5.09)], 0.3, ends="flush", simple_path=True, layer=30, datatype=0))  # Metal3
pfd_flip_flop.add(gdstk.FlexPath([(-1.87,-0.775),(-1.87,2.925)], 0.25, ends="flush", simple_path=True, layer=30, datatype=0))  # Metal3
pfd_flip_flop.add(gdstk.FlexPath([(-7.5,1.75),(-7.5,2.84)], 0.3, ends="flush", simple_path=True, layer=30, datatype=0))  # Metal3
pfd_flip_flop.add(gdstk.FlexPath([(8.9,1.22),(8.9,2.9)], 0.25, ends="flush", simple_path=True, layer=30, datatype=0))  # Metal3
pfd_flip_flop.add(gdstk.FlexPath([(-7.5,-1.31),(-7.5,-4.99)], 0.3, ends="flush", simple_path=True, layer=30, datatype=0))  # Metal3
pfd_flip_flop.add(gdstk.FlexPath([(-4.12,1.22),(-4.12,2.9)], 0.25, ends="flush", simple_path=True, layer=30, datatype=0))  # Metal3
pfd_flip_flop.add(gdstk.FlexPath([(1.815,-5.04),(1.815,-3.36)], 0.25, ends="flush", simple_path=True, layer=30, datatype=0))  # Metal3
pfd_flip_flop.add(gdstk.FlexPath([(-5.84,-1.07),(-5.84,1.9)], 0.3, ends="flush", simple_path=True, layer=30, datatype=0))  # Metal3
pfd_flip_flop.add(gdstk.FlexPath([(3.35,-0.775),(3.35,2.925)], 0.25, ends="flush", simple_path=True, layer=30, datatype=0))  # Metal3
pfd_flip_flop.add(gdstk.FlexPath([(-1.76,2.75),(3.475,2.75)], 0.3, ends="flush", simple_path=True, layer=30, datatype=0))  # Metal3
pfd_flip_flop.add(gdstk.FlexPath([(0.46,-2.28),(0.46,-3.66),(-2.04,-3.66)], 0.25, ends="flush", simple_path=True, layer=30, datatype=0))  # Metal3
pfd_flip_flop.add(gdstk.FlexPath([(-1.92,-3.535),(-1.92,-3.96),(-3.8,-3.96),(-3.8,-2.22)], 0.25, ends="flush", simple_path=True, layer=30, datatype=0))  # Metal3
pfd_flip_flop.add(gdstk.FlexPath([(-3.8,-2.22),(-3.8,-0.91)], 0.25, ends="flush", simple_path=True, layer=30, datatype=0))  # Metal3
pfd_flip_flop.add(gdstk.FlexPath([(-5.84,-1.08),(-5.84,-3.76)], 0.3, ends="flush", simple_path=True, layer=30, datatype=0))  # Metal3
pfd_flip_flop.add(gdstk.FlexPath([(-7.5,-1.31),(-7.5,1.75)], 0.3, ends="flush", simple_path=True, layer=30, datatype=0))  # Metal3
pfd_flip_flop.add(gdstk.FlexPath([(-7.5,-11.47),(-7.5,-5.03)], 0.3, ends="flush", simple_path=True, layer=8, datatype=0))  # Metal1
pfd_flip_flop.add(gdstk.FlexPath([(-2.11,-11.47),(-2.11,-5.03)], 0.3, ends="flush", simple_path=True, layer=8, datatype=0))  # Metal1
pfd_flip_flop.add(gdstk.FlexPath([(-2.11,-5.03),(-2.11,-4.64)], 0.3, ends="flush", simple_path=True, layer=8, datatype=0))  # Metal1
pfd_flip_flop.add(gdstk.FlexPath([(3.28,-11.47),(3.28,-5.03)], 0.3, ends="flush", simple_path=True, layer=8, datatype=0))  # Metal1
pfd_flip_flop.add(gdstk.FlexPath([(3.28,-5.03),(3.28,-4.64)], 0.3, ends="flush", simple_path=True, layer=8, datatype=0))  # Metal1
pfd_flip_flop.add(gdstk.FlexPath([(8.65,-11.47),(8.65,-5.03)], 0.3, ends="flush", simple_path=True, layer=8, datatype=0))  # Metal1
pfd_flip_flop.add(gdstk.FlexPath([(8.65,-5.03),(8.65,-4.64)], 0.3, ends="flush", simple_path=True, layer=8, datatype=0))  # Metal1
pfd_flip_flop.add(gdstk.FlexPath([(-7.485,-5.3),(-7.485,-4.03)], 0.33, ends="flush", simple_path=True, layer=8, datatype=0))  # Metal1
pfd_flip_flop.add(gdstk.Reference(pfd_inverter_x8, (6.6,0)))
pfd_flip_flop.add(gdstk.Reference(via_12_1, (0.46,-2.63), rotation=pi))
pfd_flip_flop.add(gdstk.Reference(pfd_passgate, (-1.55,0)))
pfd_flip_flop.add(gdstk.Reference(pfd_nor, (-1.07,0)))
pfd_flip_flop.add(gdstk.Reference(via_23, (-7.5,-0.96), rotation=pi/2))
pfd_flip_flop.add(gdstk.Reference(via_23, (-1.87,-0.42), rotation=pi/2))
pfd_flip_flop.add(gdstk.Reference(via_23, (8.9,2.55), rotation=pi/2))
pfd_flip_flop.add(gdstk.Reference(via_23, (8.9,1.57), rotation=pi/2))
pfd_flip_flop.add(gdstk.Reference(via_12_1, (-7.29,-4.89), rotation=pi/2))
pfd_flip_flop.add(gdstk.Reference(via_23, (-4.12,1.38), rotation=pi/2))
pfd_flip_flop.add(gdstk.Reference(via_12_1, (-4.12,2.6), rotation=pi/2))
pfd_flip_flop.add(gdstk.Reference(via_12_1, (1.57,-4.91), rotation=pi/2))
pfd_flip_flop.add(gdstk.Reference(via_23, (1.82,-3.46), rotation=pi/2))
pfd_flip_flop.add(gdstk.Reference(via_12_1, (-5.76,2.09), rotation=pi/2))
pfd_flip_flop.add(gdstk.Reference(via_12_1, (-5.76,-4.18), rotation=pi/2))
pfd_flip_flop.add(gdstk.Reference(via_23, (0.57,-1.95), rotation=pi))
pfd_flip_flop.add(gdstk.Reference(via_23, (2.01,-1.95), rotation=pi))
pfd_flip_flop.add(gdstk.Reference(via_23, (3.35,-0.42), rotation=pi/2))
pfd_flip_flop.add(gdstk.Reference(via_12_1, (-3.79,-1.26), rotation=pi))
pfd_flip_flop.add(gdstk.Reference(via_12_1, (-5.67,-3.65), rotation=pi/2))
pfd_flip_flop.add(gdstk.Reference(pfd_inverter_x4, (-6.47,0)))
pfd_flip_flop.add(gdstk.Reference(pfd_inverter_x8, (-2.74,0)))
pfd_flip_flop.add(gdstk.Reference(pfd_passgate, (4.26,0)))
pfd_flip_flop.add(gdstk.Reference(pfd_passgate, (5.71,0)))
pfd_flip_flop.add(gdstk.Reference(pfd_nor, (3.91,0)))
pfd_flip_flop.add(gdstk.Reference(pfd_passgate, (11.52,0)))
pfd_flip_flop.add(gdstk.Reference(via_12_1, (-7.29,2.74), rotation=pi/2))
pfd_flip_flop.add(gdstk.Reference(via_23, (5.51,-5.89)))
pfd_flip_flop.add(gdstk.Reference(via_12_1, (5.5,-2.16)))
pfd_flip_flop.add(gdstk.Reference(via_15_1, (-4.78,-5.64)))
pfd_flip_flop.add(gdstk.Reference(via_15_1, (5.99,-5.64)))
pfd_flip_flop.add(gdstk.Reference(via_14, (-4.785,-5.865)))
pfd_flip_flop.add(gdstk.Reference(via_23, (-3.78,-5.86)))
pfd_flip_flop.add(gdstk.Reference(via_15_1, (0.6,-5.64)))
pfd_flip_flop.add(gdstk.Reference(via_14, (0.595,-5.885)))
pfd_flip_flop.add(gdstk.Reference(via_14, (5.995,-5.895)))
pfd_flip_flop.add(gdstk.Reference(via_23, (2.4,-5.88)))
pfd_flip_flop.add(gdstk.Reference(via_23, (-3.78,-16.06)))
pfd_flip_flop.add(gdstk.Reference(via_23, (2.44,-16.06)))
pfd_flip_flop.add(gdstk.Reference(via_23, (5.48,-16.06)))
pfd_flip_flop.add(gdstk.Reference(via_14, (5.98,-16.05)))
pfd_flip_flop.add(gdstk.Reference(via_14, (0.61,-16.05)))
pfd_flip_flop.add(gdstk.Reference(via_14, (-4.785,-16.05)))
pfd_flip_flop.add(gdstk.Reference(via_15_1, (-4.78,-16.3)))
pfd_flip_flop.add(gdstk.Reference(via_15_1, (0.6,-16.3)))
pfd_flip_flop.add(gdstk.Reference(via_15_1, (5.98,-16.3)))
pfd_flip_flop.add(gdstk.Reference(nmos_6, (-2.27,-15.97)))
pfd_flip_flop.add(gdstk.Reference(nmos_6, (-7.65,-15.97)))
pfd_flip_flop.add(gdstk.Reference(nmos_8, (3.11,-15.97)))
pfd_flip_flop.add(gdstk.Label('2', (2.46,-3.52), layer=30, texttype=0))
pfd_flip_flop.add(gdstk.Label('3', (5.55,-3.89), layer=30, texttype=0))
pfd_flip_flop.add(gdstk.Label('post_NOR', (0.22,-1.35), layer=10, texttype=25))
pfd_flip_flop.add(gdstk.Label('clk_n', (-5.64,-1.17), layer=10, texttype=25))
pfd_flip_flop.add(gdstk.Label('1', (-4.13,-1.16), layer=10, texttype=25))
pfd_flip_flop.add(gdstk.Label('2', (-2.01,-1.55), layer=10, texttype=25))
pfd_flip_flop.add(gdstk.Label('3', (3.09,-1.93), layer=10, texttype=25))
pfd_flip_flop.add(gdstk.Label('Q', (5.58,-1.12), layer=10, texttype=25))
pfd_flip_flop.add(gdstk.Label('NQ', (7.52,-1.16), layer=10, texttype=25))
pfd_flip_flop.add(gdstk.Label('clk', (-7.7,-1.16), layer=10, texttype=25))
pfd_flip_flop.add(gdstk.Label('D', (-5.85,-0.57), layer=10, texttype=25))
pfd_flip_flop.add(gdstk.Label('vp', (-7.425,2.225), layer=8, texttype=25))
pfd_flip_flop.add(gdstk.Label('gd', (-6.69,-4.36), layer=8, texttype=25))
pfd_flip_flop.add(gdstk.Label('1', (-3.8,-2.76), layer=30, texttype=25))
pfd_flip_flop.add(gdstk.Label('rst', (0.4,2.75), layer=30, texttype=25))

lib.write_gds('PFD_flip_flop.gds')
